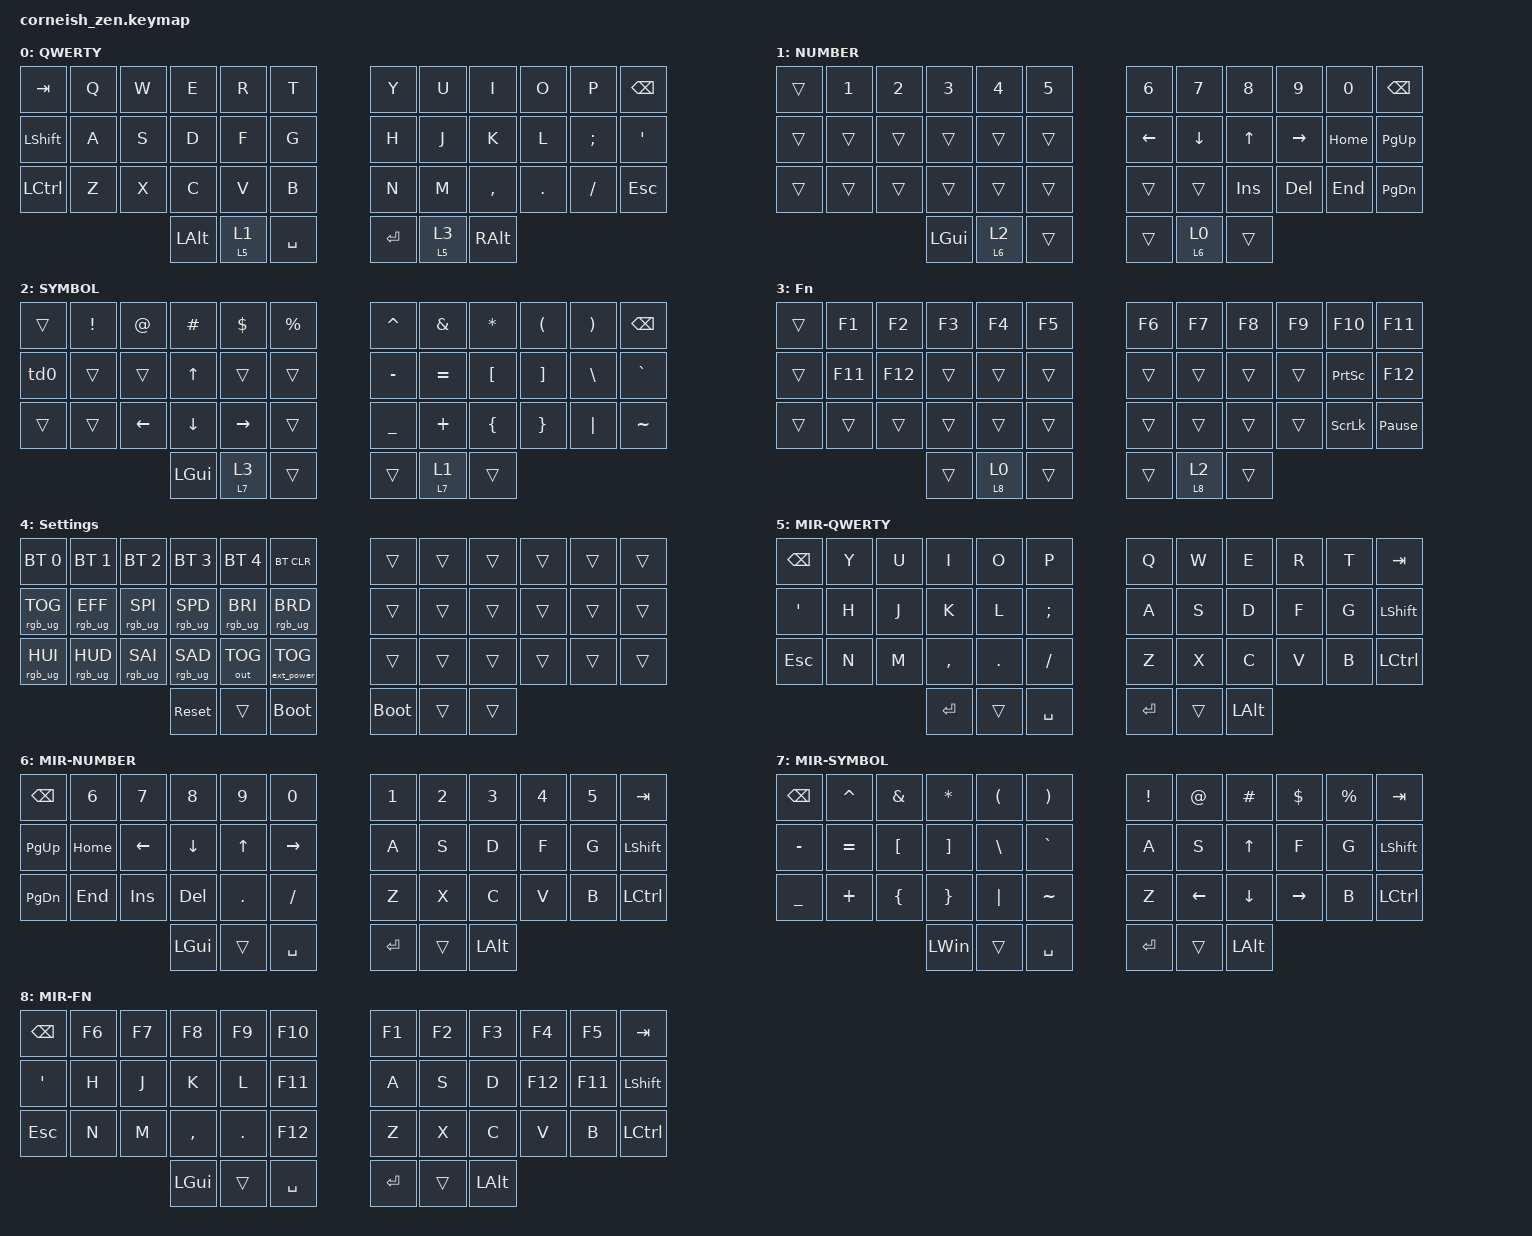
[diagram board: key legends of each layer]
/*
 * Copyright (c) 2020 The ZMK Contributors
 *
 * SPDX-License-Identifier: MIT
 */

#include <behaviors.dtsi>
#include <dt-bindings/zmk/bt.h>
#include <dt-bindings/zmk/ext_power.h>
#include <dt-bindings/zmk/keys.h>
#include <dt-bindings/zmk/outputs.h>
#include <dt-bindings/zmk/rgb.h>

/ {
    chosen {
        zmk,matrix_transform = &default_transform;

        // zmk,matrix_transform = &five_column_transform;
    };
};

/ {
    behaviors {
        td0: td0 {
            compatible = "zmk,behavior-tap-dance";
            label = "TD0";
            #binding-cells = <0>;
            bindings = <&kp LEFT_SHIFT>, <&kp CAPS>;
        };

        td1: td1 {
            compatible = "zmk,behavior-hold-tap";
            label = "TD1";
            bindings = <&mo>, <&to>;

            #binding-cells = <2>;
            flavor = "tap-preferred";
            tapping-term-ms = <300>;
        };
    };

    combos {
        compatible = "zmk,combos";

        Settings {
            bindings = <&tog 4>;
            key-positions = <37 40>;
        };
    };

    keymap {
        compatible = "zmk,keymap";

        default_layer {
            display-name = "QWERTY";

            // --------------------------------------------------------------------------------
            // |  TAB |  Q  |  W  |  E  |  R  |  T  |   |  Y  |  U   |  I  |  O  |  P  | BKSP |
            // | CTRL |  A  |  S  |  D  |  F  |  G  |   |  H  |  J   |  K  |  L  |  ;  |  '   | 
            // | SHFT |  Z  |  X  |  C  |  V  |  B  |   |  N  |  M   |  ,  |  .  |  /  | ESC  |
            //                    | GUI | LWR | SPC |   | ENT | RSE  | ALT |

            bindings = <
&kp TAB    &kp Q  &kp W  &kp E         &kp R     &kp T        &kp Y      &kp U     &kp I      &kp O    &kp P     &kp BSPC
&kp LSHFT  &kp A  &kp S  &kp D         &kp F     &kp G        &kp H      &kp J     &kp K      &kp L    &kp SEMI  &kp SQT
&kp LCTRL  &kp Z  &kp X  &kp C         &kp V     &kp B        &kp N      &kp M     &kp COMMA  &kp DOT  &kp FSLH  &kp ESC
                         &kp LEFT_ALT  &td1 5 1  &kp SPACE    &kp ENTER  &td1 5 3  &kp RALT
            >;
        };

        lower_layer {
            display-name = "NUMBER";

            // -----------------------------------------------------------------------------------------
            // |  TAB |  1  |  2  |  3  |  4  |  5  |   |  6  |  7  |  8  |  9  |  0  | BKSP |
            // | BTCLR| BT1 | BT2 | BT3 | BT4 | BT5 |   | LFT | DWN |  UP | RGT |     |      |
            // | SHFT |     |     |     |     |     |   |     |     |     |     |     |      |
            //                    | GUI |     | SPC |   | ENT |     | ALT |

            bindings = <
&trans  &kp N1  &kp N2  &kp N3        &kp N4    &kp N5    &kp N6    &kp N7    &kp N8      &kp N9     &kp N0    &kp BSPC
&trans  &trans  &trans  &trans        &trans    &trans    &kp LEFT  &kp DOWN  &kp UP      &kp RIGHT  &kp HOME  &kp PG_UP
&trans  &trans  &trans  &trans        &trans    &trans    &trans    &trans    &kp INSERT  &kp DEL    &kp END   &kp PG_DN
                        &kp LEFT_GUI  &td1 6 2  &trans    &trans    &td1 6 0  &trans
            >;
        };

        raise_layer {
            display-name = "SYMBOL";

            // -----------------------------------------------------------------------------------------
            // |  TAB |  !  |  @  |  #  |  $  |  %  |   |  ^  |  &  |  *  |  (  |  )  | BKSP |
            // | CTRL |     |     |     |     |     |   |  -  |  =  |  [  |  ]  |  \  |  `   |
            // | SHFT |     |     |     |     |     |   |  _  |  +  |  {  |  }  | "|" |  ~   |
            //                    | GUI |     | SPC |   | ENT |     | ALT |

            bindings = <
&trans  &kp EXCL  &kp AT    &kp POUND     &kp DOLLAR  &kp PERCENT    &kp CARET  &kp AMPS   &kp ASTRK  &kp LPAR  &kp RPAR  &kp BSPC
&td0    &trans    &trans    &kp UP_ARROW  &trans      &trans         &kp MINUS  &kp EQUAL  &kp LBKT   &kp RBKT  &kp BSLH  &kp GRAVE
&trans  &trans    &kp LEFT  &kp DOWN      &kp RIGHT   &trans         &kp UNDER  &kp PLUS   &kp LBRC   &kp RBRC  &kp PIPE  &kp TILDE
                            &kp LEFT_GUI  &td1 7 3    &trans         &trans     &td1 7 1   &trans
            >;
        };

        layer_3 {
            display-name = "Fn";
            bindings = <
&trans  &kp F1   &kp F2   &kp F3  &kp F4    &kp F5    &kp F6  &kp F7    &kp F8  &kp F9  &kp F10          &kp F11
&trans  &kp F11  &kp F12  &trans  &trans    &trans    &trans  &trans    &trans  &trans  &kp PRINTSCREEN  &kp F12
&trans  &trans   &trans   &trans  &trans    &trans    &trans  &trans    &trans  &trans  &kp SCROLLLOCK   &kp PAUSE_BREAK
                          &trans  &td1 8 0  &trans    &trans  &td1 8 2  &trans
            >;
        };

        layer_4 {
            bindings = <
&bt BT_SEL 0     &bt BT_SEL 1     &bt BT_SEL 2     &bt BT_SEL 3     &bt BT_SEL 4     &bt BT_CLR           &trans       &trans  &trans  &trans  &trans  &trans
&rgb_ug RGB_TOG  &rgb_ug RGB_EFF  &rgb_ug RGB_SPI  &rgb_ug RGB_SPD  &rgb_ug RGB_BRI  &rgb_ug RGB_BRD      &trans       &trans  &trans  &trans  &trans  &trans
&rgb_ug RGB_HUI  &rgb_ug RGB_HUD  &rgb_ug RGB_SAI  &rgb_ug RGB_SAD  &out OUT_TOG     &ext_power EP_TOG    &trans       &trans  &trans  &trans  &trans  &trans
                                                   &sys_reset       &trans           &bootloader          &bootloader  &trans  &trans
            >;

            label = "Settings";
        };

        layer_5 {
            display-name = "MIR-QWERTY";
            bindings = <
&kp BSPC  &kp Y  &kp U  &kp I      &kp O    &kp P        &kp Q      &kp W   &kp E     &kp R  &kp T  &kp TAB
&kp APOS  &kp H  &kp J  &kp K      &kp L    &kp SEMI     &kp A      &kp S   &kp D     &kp F  &kp G  &kp LSHFT
&kp ESC   &kp N  &kp M  &kp COMMA  &kp DOT  &kp FSLH     &kp Z      &kp X   &kp C     &kp V  &kp B  &kp LCTRL
                        &kp ENTER  &trans   &kp SPACE    &kp ENTER  &trans  &kp LALT
            >;
        };

        layer_6 {
            display-name = "MIR-NUMBER";
            bindings = <
&kp BSPC       &kp N6    &kp N7    &kp N8    &kp N9   &kp N0       &kp N1     &kp N2  &kp N3    &kp N4  &kp N5  &kp TAB
&kp PAGE_UP    &kp HOME  &kp LEFT  &kp DOWN  &kp UP   &kp RIGHT    &kp A      &kp S   &kp D     &kp F   &kp G   &kp LSHFT
&kp PAGE_DOWN  &kp END   &kp INS   &kp DEL   &kp DOT  &kp FSLH     &kp Z      &kp X   &kp C     &kp V   &kp B   &kp LCTRL
                                   &kp LGUI  &trans   &kp SPACE    &kp ENTER  &trans  &kp LALT
            >;
        };

        layer_7 {
            display-name = "MIR-SYMBOL";
            bindings = <
&kp BSPC   &kp CARET  &kp AMPS          &kp STAR           &kp LEFT_PARENTHESIS  &kp RIGHT_PARENTHESIS    &kp EXCL   &kp AT    &kp HASH        &kp DOLLAR  &kp PERCENT  &kp TAB
&kp MINUS  &kp EQUAL  &kp LEFT_BRACKET  &kp RIGHT_BRACKET  &kp BACKSLASH         &kp GRAVE                &kp A      &kp S     &kp UP_ARROW    &kp F       &kp G        &kp LSHFT
&kp UNDER  &kp PLUS   &kp LEFT_BRACE    &kp RIGHT_BRACE    &kp PIPE              &kp TILDE                &kp Z      &kp LEFT  &kp DOWN_ARROW  &kp RIGHT   &kp B        &kp LCTRL
                                        &kp LEFT_WIN       &trans                &kp SPACE                &kp ENTER  &trans    &kp LALT
            >;
        };

        layer_8 {
            display-name = "MIR-FN";
            bindings = <
&kp BSPC  &kp F6  &kp F7  &kp F8     &kp F9   &kp F10      &kp F1     &kp F2  &kp F3    &kp F4   &kp F5   &kp TAB
&kp APOS  &kp H   &kp J   &kp K      &kp L    &kp F11      &kp A      &kp S   &kp D     &kp F12  &kp F11  &kp LSHFT
&kp ESC   &kp N   &kp M   &kp COMMA  &kp DOT  &kp F12      &kp Z      &kp X   &kp C     &kp V    &kp B    &kp LCTRL
                          &kp LGUI   &trans   &kp SPACE    &kp ENTER  &trans  &kp LALT
            >;
        };
    };
};
